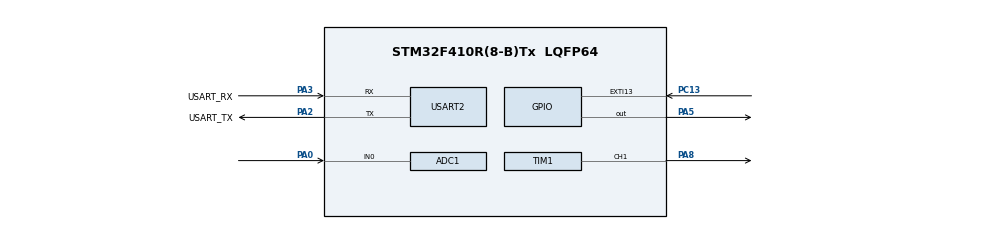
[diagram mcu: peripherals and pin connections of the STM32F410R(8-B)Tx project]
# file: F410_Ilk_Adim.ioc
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ADC1.Channel-1\#ChannelRegularConversion=ADC_CHANNEL_0
ADC1.ContinuousConvMode=ENABLE
ADC1.InjNumberOfConversion=0
ADC1.NbrOfConversion=1
ADC1.NbrOfConversionFlag=1
ADC1.Rank-1\#ChannelRegularConversion=1
ADC1.SamplingTime-1\#ChannelRegularConversion=ADC_SAMPLETIME_3CYCLES
ADC1.master=1
Mcu.Family=STM32F4
Mcu.Name=STM32F410R(8-B)Tx
Mcu.Package=LQFP64
NVIC.EXTI15_10_IRQn=true\:0\:0\:false\:false\:true\:true\:true\:true
NVIC.PriorityGroup=NVIC_PRIORITYGROUP_0
PA0-WKUP.Signal=ADCx_IN0
PA13.GPIO_Label=TMS
PA13.Mode=Serial_Wire
PA13.Signal=SYS_JTMS-SWDIO
PA14.GPIO_Label=TCK
PA14.Mode=Serial_Wire
PA14.Signal=SYS_JTCK-SWCLK
PA2.GPIO_Label=USART_TX
PA2.Mode=Asynchronous
PA2.Signal=USART2_TX
PA3.GPIO_Label=USART_RX
PA3.Mode=Asynchronous
PA3.Signal=USART2_RX
PA5.Signal=GPIO_Output
PA8.Signal=S_TIM1_CH1
PB3.GPIO_Label=SWO
PB3.Signal=SYS_JTDO-SWO
PC13-ANTI_TAMP.GPIO_ModeDefaultEXTI=GPIO_MODE_IT_RISING_FALLING
PC13-ANTI_TAMP.Signal=GPXTI13
PC14-OSC32_IN.Mode=LSE-External-Oscillator
PC14-OSC32_IN.Signal=RCC_OSC32_IN
PC15-OSC32_OUT.Mode=LSE-External-Oscillator
PC15-OSC32_OUT.Signal=RCC_OSC32_OUT
PH0\ -\ OSC_IN.Mode=HSE-External-Clock-Source
PH0\ -\ OSC_IN.Signal=RCC_OSC_IN
PH1\ -\ OSC_OUT.Mode=HSE-External-Clock-Source
PH1\ -\ OSC_OUT.Signal=RCC_OSC_OUT
ProjectManager.HeapSize=0x200
ProjectManager.StackSize=0x400
ProjectManager.TargetToolchain=STM32CubeIDE
RCC.48MHZClocksFreq_Value=84000000
RCC.AHBFreq_Value=84000000
RCC.APB1CLKDivider=RCC_HCLK_DIV2
RCC.APB1Freq_Value=42000000
RCC.APB1TimFreq_Value=84000000
RCC.APB2Freq_Value=84000000
RCC.APB2TimFreq_Value=84000000
RCC.CortexFreq_Value=84000000
RCC.FLatency-AdvancedSettings=FLASH_LATENCY_2
RCC.HCLKFreq_Value=84000000
RCC.HSE_VALUE=8000000
RCC.HSI_VALUE=16000000
RCC.PLLN=336
RCC.PLLP=RCC_PLLP_DIV4
RCC.SYSCLKFreq_VALUE=84000000
RCC.SYSCLKSource=RCC_SYSCLKSOURCE_PLLCLK
RCC.VCOOutputFreq_Value=336000000
SH.ADCx_IN0.0=ADC1_IN0,IN0
SH.S_TIM1_CH1.0=TIM1_CH1,PWM Generation1 CH1
TIM1.Channel-PWM\ Generation1\ CH1=TIM_CHANNEL_1
TIM1.Prescaler=100-1
USART2.VirtualMode=VM_ASYNC
VP_TIM1_VS_ClockSourceINT.Mode=Internal
board=NUCLEO-F410RB

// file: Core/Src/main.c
/* USER CODE BEGIN Header */
/**
 ******************************************************************************
 * @file           : main.c
 * @brief          : Main program body
 ******************************************************************************
 * @attention
 *
 * Copyright (c) 2026 STMicroelectronics.
 * All rights reserved.
 *
 * This software is licensed under terms that can be found in the LICENSE file
 * in the root directory of this software component.
 * If no LICENSE file comes with this software, it is provided AS-IS.
 *
 ******************************************************************************
 */
/* USER CODE END Header */
#include "main.h"
#include "adc.h"
#include "tim.h"
#include "usart.h"
#include "gpio.h"
#include <stdio.h>
#include <string.h>

/* USER CODE BEGIN PV */
uint32_t adc_value = 0;
char adc_msg[50];

/* USER CODE END PV */

void SystemClock_Config(void);
/* USER CODE BEGIN PFP */
void HAL_Delay_us(uint16_t us);

/* USER CODE END PFP */

int main(void) {

	/* MCU Configuration--------------------------------------------------------*/

	/* Reset of all peripherals, Initializes the Flash interface and the Systick. */
	HAL_Init();

	/* Configure the system clock */
	SystemClock_Config();

	/* Initialize all configured peripherals */
	MX_GPIO_Init();
	MX_USART2_UART_Init();
	MX_TIM1_Init();
	MX_ADC1_Init();

	/* USER CODE BEGIN 2 */
	HAL_TIM_Base_Start(&htim1); // PWM için Timer'ı başlatmayı unutma!
	HAL_ADC_Start(&hadc1);      // ADC'yi "Haydi başla" diyerek uyandırıyoruz
	/* USER CODE END 2 */

	/* Infinite loop */
	/* USER CODE BEGIN WHILE */
	int brightness = 0;
	int direction = 1;
	int loop_counter = 0; // Efekti yavaşlatmak için sayaç
	uint32_t last_print = 0;

	while (1) {
		/* USER CODE END WHILE */
		// LED'i yak
		HAL_GPIO_WritePin(GPIOA, GPIO_PIN_5, GPIO_PIN_SET);
		HAL_Delay_us(brightness);

		// LED'i söndür
		HAL_GPIO_WritePin(GPIOA, GPIO_PIN_5, GPIO_PIN_RESET);
		HAL_Delay_us(1000 - brightness);

		// Her döngüde değil, her 20 döngüde bir parlaklığı değiştir (Yavaşlatma hilesi)
		if (++loop_counter >= 20) {
			brightness += direction;

			// Güvenlik Sınırları: 0'ın altına düşme, 1000'in üstüne çıkma
			if (brightness >= 990) {
				brightness = 990;
				direction = -1; // Geri dön (Sönmeye başla)
			}
			if (brightness <= 10) {
				brightness = 10;
				direction = 1; // Geri dön (Parlamaya başla)
			}
			loop_counter = 0;

			// ADC Bölümü (Zaman ayarlı okuma)
			if (HAL_GetTick() - last_print > 100) {
				if (HAL_ADC_PollForConversion(&hadc1, 10) == HAL_OK) {
					adc_value = HAL_ADC_GetValue(&hadc1);
					sprintf(adc_msg, "ADC Raw Value: %lu\r\n", adc_value);
					HAL_UART_Transmit(&huart2, (uint8_t*) adc_msg,
							strlen(adc_msg), 100);
					HAL_ADC_Start(&hadc1); // <--- ADC'YE "BİR DAHA OKU" DİYORUZ
				}
				last_print = HAL_GetTick();
			} /* USER CODE BEGIN 3 */
		}
		/* USER CODE END 3 */
	}
}

	/**
	 * @brief System Clock Configuration
	 * @retval None
	 */
	void SystemClock_Config(void) {
		RCC_OscInitTypeDef RCC_OscInitStruct = { 0 };
		RCC_ClkInitTypeDef RCC_ClkInitStruct = { 0 };

		/** Configure the main internal regulator output voltage
		 */
		__HAL_RCC_PWR_CLK_ENABLE();
		__HAL_PWR_VOLTAGESCALING_CONFIG(PWR_REGULATOR_VOLTAGE_SCALE1);

		/** Initializes the RCC Oscillators according to the specified parameters
		 * in the RCC_OscInitTypeDef structure.
		 */
		RCC_OscInitStruct.OscillatorType = RCC_OSCILLATORTYPE_HSI;
		RCC_OscInitStruct.HSIState = RCC_HSI_ON;
		RCC_OscInitStruct.HSICalibrationValue = RCC_HSICALIBRATION_DEFAULT;
		RCC_OscInitStruct.PLL.PLLState = RCC_PLL_ON;
		RCC_OscInitStruct.PLL.PLLSource = RCC_PLLSOURCE_HSI;
		RCC_OscInitStruct.PLL.PLLM = 16;
		RCC_OscInitStruct.PLL.PLLN = 336;
		RCC_OscInitStruct.PLL.PLLP = RCC_PLLP_DIV4;
		RCC_OscInitStruct.PLL.PLLQ = 4;
		RCC_OscInitStruct.PLL.PLLR = 2;
		if (HAL_RCC_OscConfig(&RCC_OscInitStruct) != HAL_OK) {
			Error_Handler();
		}

		/** Initializes the CPU, AHB and APB buses clocks
		 */
		RCC_ClkInitStruct.ClockType = RCC_CLOCKTYPE_HCLK | RCC_CLOCKTYPE_SYSCLK
				| RCC_CLOCKTYPE_PCLK1 | RCC_CLOCKTYPE_PCLK2;
		RCC_ClkInitStruct.SYSCLKSource = RCC_SYSCLKSOURCE_PLLCLK;
		RCC_ClkInitStruct.AHBCLKDivider = RCC_SYSCLK_DIV1;
		RCC_ClkInitStruct.APB1CLKDivider = RCC_HCLK_DIV2;
		RCC_ClkInitStruct.APB2CLKDivider = RCC_HCLK_DIV1;

		if (HAL_RCC_ClockConfig(&RCC_ClkInitStruct, FLASH_LATENCY_2)
				!= HAL_OK) {
			Error_Handler();
		}
	}

	/* USER CODE BEGIN 4 */

	void HAL_GPIO_EXTI_Callback(uint16_t GPIO_Pin) {
		if (GPIO_Pin == GPIO_PIN_13) {
			char *msg;
			if (HAL_GPIO_ReadPin(GPIOC, GPIO_PIN_13) == GPIO_PIN_RESET) {
				HAL_GPIO_WritePin(GPIOA, GPIO_PIN_5, GPIO_PIN_SET);
				msg = "Buton BASILDI!\r\n";
			} else {
				HAL_GPIO_WritePin(GPIOA, GPIO_PIN_5, GPIO_PIN_RESET);
				msg = "Buton BIRAKILDI!\r\n";
			}
			// huart2: Nucleo'da ST-Link üzerinden PC'ye bağlı olan UART birimi
			HAL_UART_Transmit(&huart2, (uint8_t*) msg, strlen(msg), 10);
		}
	}

	void HAL_Delay_us(uint16_t us) {
		__HAL_TIM_SET_COUNTER(&htim1, 0);  // Timer'ı sıfırla
		while (__HAL_TIM_GET_COUNTER(&htim1) < us)
			; // Hedef süreye kadar bekle
	}

	/* USER CODE END 4 */

	/**
	 * @brief  This function is executed in case of error occurrence.
	 * @retval None
	 */
	void Error_Handler(void) {
		__disable_irq();
		while (1) {
		}
	}
